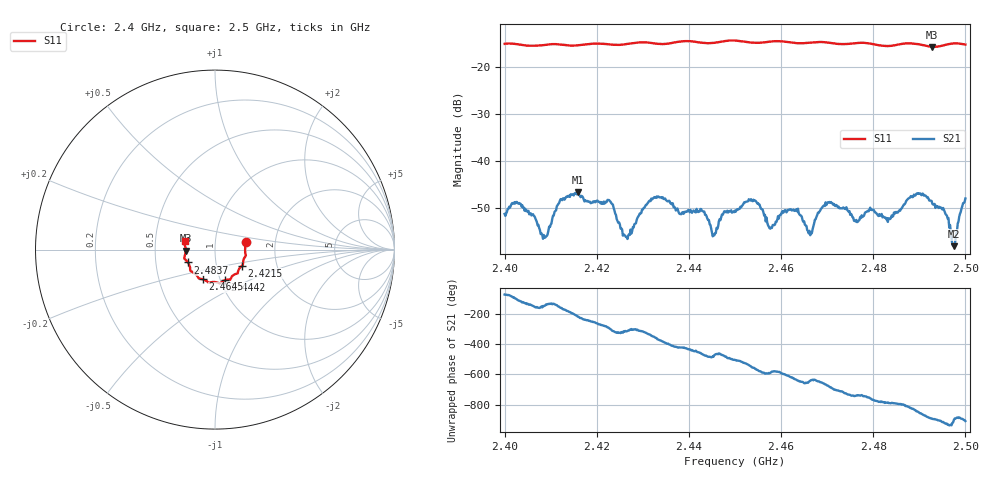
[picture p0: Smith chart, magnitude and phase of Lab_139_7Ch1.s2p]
# Hz S RI R 50
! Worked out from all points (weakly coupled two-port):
!   601 points, 2.4 GHz to 2.5 GHz, reference 50 ohm
!   highest |S21| = -46.70 dB at 2.4158 GHz (marker M1); lowest = -58.1 dB at 2.4975 GHz (marker M2)
!   lowest |S11| = -15.7 dB at 2.4928 GHz (marker M3), VSWR 1.39, Z = 36 - j0.387 ohm
!   |S11| at or under -10 dB: start of sweep to end of sweep
!   S12 and S22 are empty: the file has one direction only
!   S11 on the Smith chart (normalised r, x): 2.4 GHz: 1.41, +0.12; 2.4215 GHz: 1.33, -0.25; 2.4442 GHz: 1.05, -0.37; 2.4645 GHz: 0.83, -0.29; 2.4837 GHz: 0.73, -0.11; 2.5 GHz: 0.71, +0.07
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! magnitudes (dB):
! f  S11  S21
! 2.4 GHz  -15.1  -51.3
! 2.403 GHz  -15.2  -49.1
! 2.4088 GHz  -15.3  -56.3
! 2.4118 GHz  -15.2  -48.9
! 2.4158 GHz  -15.4  -46.7
! 2.4167 GHz  -15.3  -47.4
! 2.4215 GHz  -15.1  -48.6
! 2.4267 GHz  -15.1  -56.6
! 2.4333 GHz  -15.1  -47.5
! 2.4442 GHz  -15.0  -52.6
! 2.4455 GHz  -14.9  -55.8
! 2.45 GHz  -14.4  -50.6
! 2.4645 GHz  -15.0  -51.9
! 2.4667 GHz  -14.8  -55.4
! 2.4705 GHz  -14.9  -48.7
! 2.4833 GHz  -15.6  -52.2
! 2.4837 GHz  -15.5  -52.4
! 2.4893 GHz  -15.1  -47.0
! 2.4928 GHz  -15.7  -49.1
! 2.4957 GHz  -15.3  -51.3
! 2.4975 GHz  -15.0  -58.1
! 2.5 GHz  -15.3  -48.0
